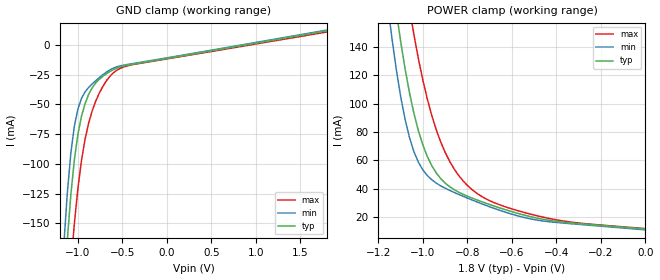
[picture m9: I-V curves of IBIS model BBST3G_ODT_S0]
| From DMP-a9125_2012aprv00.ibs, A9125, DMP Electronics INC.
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[Model] BBST3G_ODT_S0
Model_type Input
Polarity   Non-Inverting
Enable   Active-Low
Vinl =   0.6500V
Vinh =   1.1500V
C_comp   2.3000pF   2.2000pF   2.4000pF
[Temperature Range]   25.0000   -40.0000   0.1250k
[Pullup Reference]   1.8000V   1.7000V   1.9000V
[Pulldown Reference]   0.0V   0.0V   0.0V
[POWER Clamp Reference]   1.8000V   1.7000V   1.9000V
[GND Clamp Reference]   0.0V   0.0V   0.0V
[GND_clamp]
|Voltage   I(typ)   I(min)   I(max)
-1.8V     -1.34A     -1.348A    -1.354A
-1.16V    -211mA     -169.9mA   -276mA
-1.12V    -164.6mA   -125.1mA   -228.4mA
-1.08V    -126.2mA   -91.12mA   -186.1mA
-1.04V    -96.46mA   -68.15mA   -150mA
-1V       -74.94mA   -53.76mA   -120.4mA
-920mV    -49.37mA   -39.53mA   -79.29mA
-880mV    -41.7mA    -35.85mA   -65.83mA
-800mV    -31.97mA   -30.1mA    -47.3mA
-640mV    -22.4mA    -20.99mA   -26.34mA
-400mV    -16.48mA   -15.94mA   -16.86mA
1.8V      11.75mA    12.47mA    10.82mA
[POWER_clamp]
|Voltage   I(typ)   I(min)   I(max)
-1.8V     1.433A     1.441A     1.447A
-1.16V    214.7mA    171.6mA    283.5mA
-1.14V    188.9mA    146.4mA    257.1mA
-1.12V    165mA      124mA      232.1mA
-1.1V     143.3mA    104.6mA    208.5mA
-1.06V    107.1mA    75.73mA    166.3mA
-1.04V    92.64mA    65.88mA    147.8mA
-960mV    56.2mA     46.36mA    91.39mA
-880mV    41.54mA    38.94mA    59.35mA
-780mV    33.57mA    32.24mA    39.55mA
-460mV    18.61mA    17.42mA    20.13mA
0V        11.75mA    11.17mA    12.07mA
